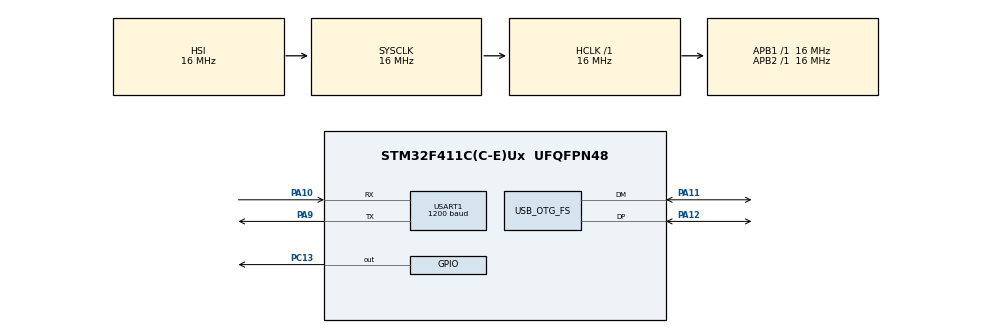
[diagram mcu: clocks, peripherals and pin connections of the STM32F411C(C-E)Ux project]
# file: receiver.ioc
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Mcu.Family=STM32F4
Mcu.Name=STM32F411C(C-E)Ux
Mcu.Package=UFQFPN48
NVIC.OTG_FS_IRQn=true\:0\:0\:false\:false\:true\:false\:true\:true
NVIC.PriorityGroup=NVIC_PRIORITYGROUP_4
NVIC.USART1_IRQn=true\:0\:0\:false\:false\:true\:true\:true\:true
PA10.Mode=Asynchronous
PA10.Signal=USART1_RX
PA11.Mode=Device_Only
PA11.Signal=USB_OTG_FS_DM
PA12.Mode=Device_Only
PA12.Signal=USB_OTG_FS_DP
PA9.Mode=Asynchronous
PA9.Signal=USART1_TX
PC13-ANTI_TAMP.Signal=GPIO_Output
PH0\ -\ OSC_IN.Mode=HSE-External-Oscillator
PH0\ -\ OSC_IN.Signal=RCC_OSC_IN
PH1\ -\ OSC_OUT.Mode=HSE-External-Oscillator
PH1\ -\ OSC_OUT.Signal=RCC_OSC_OUT
ProjectManager.HeapSize=0x200
ProjectManager.StackSize=0x400
ProjectManager.TargetToolchain=STM32CubeIDE
RCC.48MHZClocksFreq_Value=48000000
RCC.AHBFreq_Value=16000000
RCC.APB1Freq_Value=16000000
RCC.APB2Freq_Value=16000000
RCC.CortexFreq_Value=16000000
RCC.HSE_VALUE=25000000
RCC.HSI_VALUE=16000000
RCC.LSE_VALUE=32768
RCC.PLLM=15
RCC.PLLN=144
RCC.PLLQ=5
RCC.SYSCLKFreq_VALUE=16000000
RCC.VCOOutputFreq_Value=240000000
USART1.BaudRate=1200
USART1.VirtualMode=VM_ASYNC
USB_DEVICE.CLASS_NAME_FS=CDC
USB_DEVICE.VirtualMode=Cdc
USB_DEVICE.VirtualModeFS=Cdc_FS
USB_OTG_FS.VirtualMode=Device_Only
VP_USB_DEVICE_VS_USB_DEVICE_CDC_FS.Mode=CDC_FS
board=custom

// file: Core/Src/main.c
/* USER CODE BEGIN Header */
/**
  ******************************************************************************
  * @file           : main.c
  * @brief          : Main program body
  ******************************************************************************
  * @attention
  *
  * Copyright (c) 2026 STMicroelectronics.
  * All rights reserved.
  *
  * This software is licensed under terms that can be found in the LICENSE file
  * in the root directory of this software component.
  * If no LICENSE file comes with this software, it is provided AS-IS.
  *
  ******************************************************************************
  */
/* USER CODE END Header */
#include "main.h"
#include "usb_device.h"
/* USER CODE BEGIN Includes */
#include "laser_proto.h"
/* USER CODE END Includes */

/* USER CODE BEGIN PTD */
typedef struct
{
  uint8_t buffer[MAX_PAYLOAD];
  uint8_t length;
} packet_t;
/* USER CODE END PTD */

/* USER CODE BEGIN PD */
#define QUEUE_SIZE 8
/* USER CODE END PD */

UART_HandleTypeDef huart1;

void SystemClock_Config(void);
static void MX_GPIO_Init(void);
static void MX_USART1_UART_Init(void);

/* USER CODE BEGIN 0 */
#include "usbd_cdc_if.h"

volatile packet_t queue[QUEUE_SIZE];
volatile uint8_t head = 0;
volatile uint8_t tail = 0;
volatile uint32_t lost_counter = 0;

static parser_t rx_parser;
uint8_t rx_byte = 0;

volatile uint32_t fe_counter = 0;
volatile uint32_t ne_counter = 0;
volatile uint32_t ore_counter = 0;

//UART ERRORS COUNTER

static void count_uart_errors(uint32_t err)
{
  if (err & HAL_UART_ERROR_FE)
  {
    fe_counter++;
  }
  if (err & HAL_UART_ERROR_NE)
  {
    ne_counter++;
  }
  if (err & HAL_UART_ERROR_ORE)
  {
    ore_counter++;
  }
}

//UART INTERRUPT HANDLE

void HAL_UART_RxCpltCallback(UART_HandleTypeDef *huart) {
    if (huart->Instance == USART1)
    {
      count_uart_errors(huart->ErrorCode);
      if (feed_byte(&rx_parser, rx_byte, HAL_GetTick()) == PACKET) {
          uint8_t next = (head + 1) & (QUEUE_SIZE - 1);
          if (next == tail) {
          lost_counter++;
          }
          else {
            for (uint8_t i = 0; i < rx_parser.length; i++)
            {
              queue[head].buffer[i] = rx_parser.buffer[i];
            }
            queue[head].length = rx_parser.length;
            head = next;
          }
        }
      HAL_UART_Receive_IT(&huart1, &rx_byte, 1);
      }
    }

//UART ERROR INTERRUPT HANDLE

void HAL_UART_ErrorCallback(UART_HandleTypeDef *huart) {
  if (huart->Instance == USART1)
  {
    count_uart_errors(huart->ErrorCode);
    (void)HAL_UART_Receive_IT(&huart1, &rx_byte, 1);
  }
}
/* USER CODE END 0 */

int main(void)
{

  /* USER CODE BEGIN 1 */
static uint8_t output_buffer[MAX_PAYLOAD];
  static uint8_t output_length = 0;
  /* USER CODE END 1 */

  /* MCU Configuration--------------------------------------------------------*/

  /* Reset of all peripherals, Initializes the Flash interface and the Systick. */
  HAL_Init();

  /* Configure the system clock */
  SystemClock_Config();

  /* Initialize all configured peripherals */
  MX_GPIO_Init();
  MX_USART1_UART_Init();
  MX_USB_DEVICE_Init();
  /* USER CODE BEGIN 2 */
  parser_init(&rx_parser);
  // Включаем аппаратное прослушивание лазера (ждем 1 байт в фоне)
    HAL_UART_Receive_IT(&huart1, &rx_byte, 1);
  /* USER CODE END 2 */

  /* Infinite loop */
  while (1)
  {

    /* USER CODE BEGIN 3 */
	  if (head != tail) {
	    for (uint8_t i = 0; i < queue[tail].length; i++)
	    {
	      output_buffer[i] = queue[tail].buffer[i];
	    }
	    HAL_GPIO_WritePin(GPIOC, GPIO_PIN_13, GPIO_PIN_RESET);
	    output_length = queue[tail].length;
	    tail = (tail + 1) & (QUEUE_SIZE - 1);

	    uint8_t alert[] = "\r\n>> new message: ";
	    CDC_Transmit_FS(alert, sizeof(alert)-1);
	    HAL_Delay(5);

	    CDC_Transmit_FS(output_buffer, output_length);
	    HAL_Delay(5);

	    uint8_t newline[] = "\r\n";
	    CDC_Transmit_FS(newline, sizeof(newline) - 1);
	    HAL_GPIO_WritePin(GPIOC, GPIO_PIN_13, GPIO_PIN_SET);
	    }
  /* USER CODE END 3 */
}
}

void SystemClock_Config(void)
{
  RCC_OscInitTypeDef RCC_OscInitStruct = {0};
  RCC_ClkInitTypeDef RCC_ClkInitStruct = {0};

  /** Configure the main internal regulator output voltage
  */
  __HAL_RCC_PWR_CLK_ENABLE();
  __HAL_PWR_VOLTAGESCALING_CONFIG(PWR_REGULATOR_VOLTAGE_SCALE1);

  /** Initializes the RCC Oscillators according to the specified parameters
  * in the RCC_OscInitTypeDef structure.
  */
  RCC_OscInitStruct.OscillatorType = RCC_OSCILLATORTYPE_HSI|RCC_OSCILLATORTYPE_HSE;
  RCC_OscInitStruct.HSEState = RCC_HSE_ON;
  RCC_OscInitStruct.HSIState = RCC_HSI_ON;
  RCC_OscInitStruct.HSICalibrationValue = RCC_HSICALIBRATION_DEFAULT;
  RCC_OscInitStruct.PLL.PLLState = RCC_PLL_ON;
  RCC_OscInitStruct.PLL.PLLSource = RCC_PLLSOURCE_HSE;
  RCC_OscInitStruct.PLL.PLLM = 15;
  RCC_OscInitStruct.PLL.PLLN = 144;
  RCC_OscInitStruct.PLL.PLLP = RCC_PLLP_DIV2;
  RCC_OscInitStruct.PLL.PLLQ = 5;
  if (HAL_RCC_OscConfig(&RCC_OscInitStruct) != HAL_OK)
  {
    Error_Handler();
  }

  /** Initializes the CPU, AHB and APB buses clocks
  */
  RCC_ClkInitStruct.ClockType = RCC_CLOCKTYPE_HCLK|RCC_CLOCKTYPE_SYSCLK
                              |RCC_CLOCKTYPE_PCLK1|RCC_CLOCKTYPE_PCLK2;
  RCC_ClkInitStruct.SYSCLKSource = RCC_SYSCLKSOURCE_HSI;
  RCC_ClkInitStruct.AHBCLKDivider = RCC_SYSCLK_DIV1;
  RCC_ClkInitStruct.APB1CLKDivider = RCC_HCLK_DIV1;
  RCC_ClkInitStruct.APB2CLKDivider = RCC_HCLK_DIV1;

  if (HAL_RCC_ClockConfig(&RCC_ClkInitStruct, FLASH_LATENCY_0) != HAL_OK)
  {
    Error_Handler();
  }
}

static void MX_USART1_UART_Init(void)
{

  huart1.Instance = USART1;
  huart1.Init.BaudRate = 1200;
  huart1.Init.WordLength = UART_WORDLENGTH_8B;
  huart1.Init.StopBits = UART_STOPBITS_1;
  huart1.Init.Parity = UART_PARITY_NONE;
  huart1.Init.Mode = UART_MODE_TX_RX;
  huart1.Init.HwFlowCtl = UART_HWCONTROL_NONE;
  huart1.Init.OverSampling = UART_OVERSAMPLING_16;
  if (HAL_UART_Init(&huart1) != HAL_OK)
  {
    Error_Handler();
  }

}

static void MX_GPIO_Init(void)
{
  GPIO_InitTypeDef GPIO_InitStruct = {0};

  /* GPIO Ports Clock Enable */
  __HAL_RCC_GPIOC_CLK_ENABLE();
  __HAL_RCC_GPIOH_CLK_ENABLE();
  __HAL_RCC_GPIOA_CLK_ENABLE();

  /*Configure GPIO pin Output Level */
  HAL_GPIO_WritePin(GPIOC, GPIO_PIN_13, GPIO_PIN_SET);

  /*Configure GPIO pin : PC13 */
  GPIO_InitStruct.Pin = GPIO_PIN_13;
  GPIO_InitStruct.Mode = GPIO_MODE_OUTPUT_PP;
  GPIO_InitStruct.Pull = GPIO_NOPULL;
  GPIO_InitStruct.Speed = GPIO_SPEED_FREQ_LOW;
  HAL_GPIO_Init(GPIOC, &GPIO_InitStruct);

}

void Error_Handler(void)
{
  __disable_irq();
  while (1)
  {
  }
}
